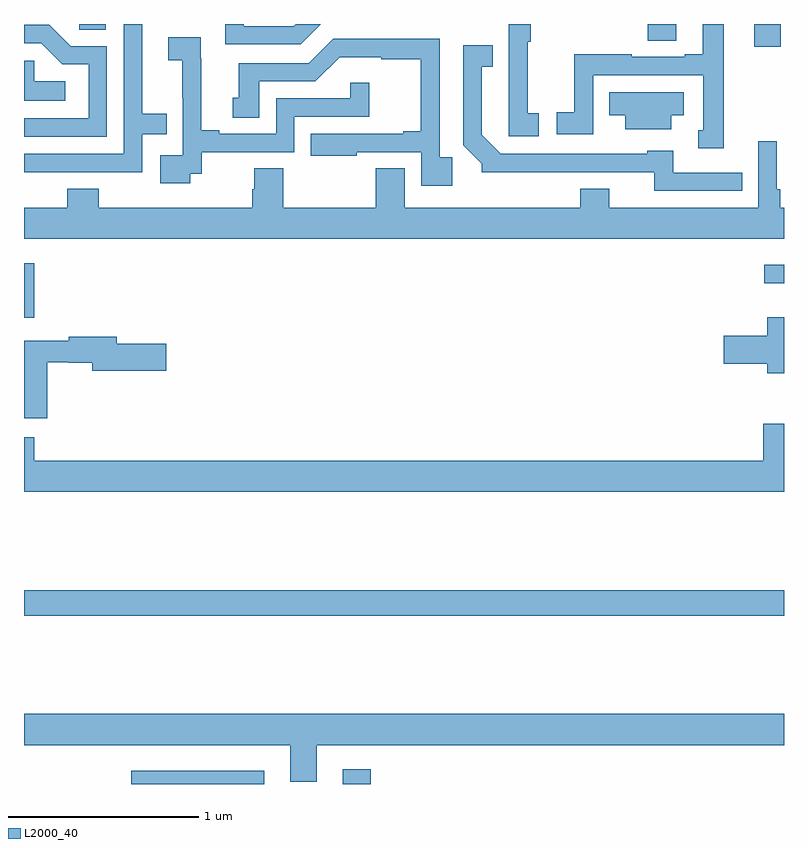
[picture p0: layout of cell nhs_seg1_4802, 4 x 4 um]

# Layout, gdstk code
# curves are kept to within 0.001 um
import gdstk
lib = gdstk.Library(unit=1e-6, precision=1e-09)
def R(c, l, rs):  # rectangles x0, y0, x1, y1
    for r in rs: c.add(gdstk.rectangle(r[:2], r[2:], *l))
def P(c, l, *ps):  # polygons
    for p in ps: c.add(gdstk.Polygon(p, *l))
L2000_40 = (2000, 40)

nhs_seg1_4802 = lib.new_cell('nhs_seg1_4802')
R(nhs_seg1_4802, L2000_40, [(371.565,546.199,372.265,546.268), (372.677,546.199,372.825,546.277), (371,547.084,375,547.22), (371,548.654,371.054,548.941), (374.895,548.835,375,548.932), (374.843,550.08,374.983,550.199), (374.282,550.111,374.434,550.199), (371.292,550.168,371.431,550.199)])
P(nhs_seg1_4802, L2000_40, [(374.683,550.199),(374.573,550.199),(374.573,550.039),(374.477,550.039),(374.477,550.026),(374.198,550.026),(374.198,550.039),(373.897,550.039),(373.897,549.734),(373.803,549.734),(373.803,549.618),(373.995,549.618),(373.995,549.93),(374.574,549.93),(374.574,549.639),(374.549,549.639),(374.549,549.545),(374.683,549.545)],
  [(373.708,549.729),(373.65,549.729),(373.65,550.105),(373.667,550.105),(373.667,550.199),(373.551,550.199),(373.551,549.884),(373.55,549.884),(373.55,549.609),(373.708,549.609)],
  [(372.563,550.199),(372.431,550.199),(372.42,550.188),(372.156,550.188),(372.156,550.199),(372.06,550.199),(372.06,550.092),(372.456,550.092)],
  [(371.144,549.42),(371.622,549.42),(371.622,549.618),(371.75,549.618),(371.75,549.727),(371.623,549.727),(371.623,550.199),(371.526,550.199),(371.526,549.516),(371,549.516),(371,549.419),(371.144,549.419)],
  [(371.436,550.083),(371.247,550.083),(371.134,550.196),(371,550.196),(371,550.098),(371.091,550.098),(371.202,549.987),(371.34,549.987),(371.34,549.702),(371,549.702),(371,549.606),(371.436,549.606)],
  [(371.874,549.411),(371.936,549.411),(371.936,549.525),(372.423,549.525),(372.423,549.711),(372.818,549.711),(372.818,549.889),(372.717,549.889),(372.717,549.807),(372.327,549.807),(372.327,549.621),(372.028,549.621),(372.028,549.641),(371.932,549.641),(371.932,550.019),(371.93,550.019),(371.93,550.13),(371.76,550.13),(371.76,550.009),(371.834,550.009),(371.834,549.811),(371.835,549.811),(371.835,549.507),(371.718,549.507),(371.718,549.36),(371.874,549.36)],
  [(373.253,549.499),(373.188,549.499),(373.188,550.122),(372.627,550.122),(372.498,549.993),(372.131,549.993),(372.131,549.81),(372.098,549.81),(372.098,549.706),(372.238,549.706),(372.238,549.897),(372.534,549.897),(372.662,550.025),(372.881,550.025),(372.881,550.014),(373.087,550.014),(373.087,549.634),(372.995,549.634),(372.995,549.621),(372.508,549.621),(372.508,549.506),(372.751,549.506),(372.751,549.525),(373.092,549.525),(373.092,549.348),(373.253,549.348)],
  [(374.78,549.417),(374.416,549.417),(374.416,549.532),(374.28,549.532),(374.28,549.516),(373.509,549.516),(373.408,549.617),(373.408,549.974),(373.466,549.974),(373.466,550.087),(373.311,550.087),(373.311,549.562),(373.41,549.463),(373.41,549.419),(374.317,549.42),(374.317,549.321),(374.78,549.321)],
  [(371.218,549.898),(371.055,549.898),(371.055,550.005),(371,550.005),(371,549.794),(371.218,549.794)],
  [(374.407,549.719),(374.473,549.719),(374.473,549.841),(374.08,549.841),(374.08,549.719),(374.165,549.719),(374.165,549.644),(374.407,549.644)],
  [(372.212,549.44),(372.212,549.33),(372.2,549.33),(372.2,549.232),(371.393,549.232),(371.393,549.331),(371.228,549.331),(371.228,549.232),(371,549.232),(371,549.068),(375,549.068),(375,549.232),(374.981,549.232),(374.981,549.328),(374.962,549.328),(374.962,549.583),(374.865,549.583),(374.865,549.232),(374.08,549.232),(374.08,549.331),(373.928,549.331),(373.928,549.232),(373.003,549.232),(373.003,549.44),(372.851,549.44),(372.851,549.232),(372.365,549.232),(372.365,549.44)],
  [(375,548.656),(374.912,548.656),(374.912,548.558),(374.682,548.558),(374.682,548.411),(374.912,548.411),(374.912,548.36),(375,548.36)],
  [(371.123,548.42),(371.235,548.42),(371.235,548.416),(371.36,548.416),(371.36,548.374),(371.749,548.374),(371.749,548.516),(371.488,548.516),(371.488,548.552),(371.235,548.552),(371.235,548.532),(371,548.532),(371,548.124),(371.123,548.124)],
  [(375,548.095),(374.891,548.095),(374.891,547.9),(371.054,547.9),(371.054,548.024),(371,548.024),(371,547.736),(375,547.736)],
  [(372.541,546.404),(375,546.404),(375,546.568),(371,546.568),(371,546.404),(372.401,546.404),(372.401,546.21),(372.541,546.21)])

lib.write_gds('nhs_seg1_4802.gds')
